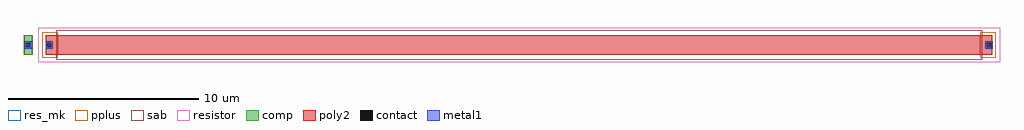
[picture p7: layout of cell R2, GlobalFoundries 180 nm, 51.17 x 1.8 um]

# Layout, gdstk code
import gdstk
lib = gdstk.Library(unit=1e-6, precision=1e-09)
def R(c, l, rs):  # rectangles x0, y0, x1, y1
    for r in rs: c.add(gdstk.rectangle(r[:2], r[2:], *l))
comp = (22, 0)
poly2 = (30, 0)
pplus = (31, 0)
contact = (33, 0)
metal1 = (34, 0)
sab = (49, 0)
resistor = (62, 0)
res_mk = (110, 5)

c_r2 = lib.new_cell('R2')
R(c_r2, comp, [(-1.76,0,-1.34,1)])
R(c_r2, poly2, [(-0.64,0,48.99,1)])
R(c_r2, pplus, [(-0.82,-0.18,0,1.18), (48.35,-0.18,49.17,1.18), (-1.78,-0.02,-1.32,1.02)])
R(c_r2, contact, [(-1.66,0.39,-1.44,0.61), (-0.57,0.39,-0.35,0.61), (48.7,0.39,48.92,0.61)])
R(c_r2, metal1, [(-1.74,0.309,-1.36,0.691), (-0.65,0.309,-0.27,0.691), (48.62,0.309,49,0.691)])
R(c_r2, sab, [(-0.1,-0.28,48.45,1.28)])
R(c_r2, resistor, [(-1.04,-0.4,49.39,1.4)])
R(c_r2, res_mk, [(0,0,48.35,1)])

lib.write_gds('R2.gds')
